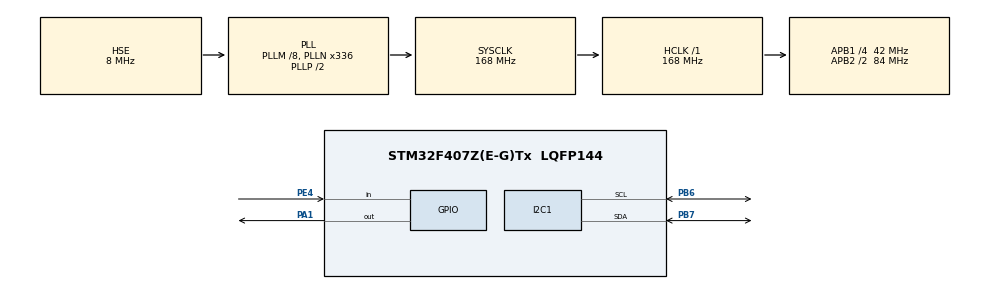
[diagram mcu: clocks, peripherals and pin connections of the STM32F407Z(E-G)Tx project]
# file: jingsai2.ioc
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Mcu.Family=STM32F4
Mcu.Name=STM32F407Z(E-G)Tx
Mcu.Package=LQFP144
NVIC.PriorityGroup=NVIC_PRIORITYGROUP_4
NVIC.TIM1_UP_TIM10_IRQn=true\:15\:0\:false\:false\:true\:false\:true\:true
NVIC.TimeBase=TIM1_UP_TIM10_IRQn
NVIC.TimeBaseIP=TIM1
PA1.GPIO_PuPd=GPIO_PULLUP
PA1.GPIO_Speed=GPIO_SPEED_FREQ_HIGH
PA1.PinState=GPIO_PIN_SET
PA1.Signal=GPIO_Output
PA13.Mode=Serial_Wire
PA13.Signal=SYS_JTMS-SWDIO
PA14.Mode=Serial_Wire
PA14.Signal=SYS_JTCK-SWCLK
PB6.Mode=I2C
PB6.Signal=I2C1_SCL
PB7.Mode=I2C
PB7.Signal=I2C1_SDA
PE4.GPIO_PuPd=GPIO_PULLUP
PE4.Signal=GPIO_Input
PH0-OSC_IN.Mode=HSE-External-Oscillator
PH0-OSC_IN.Signal=RCC_OSC_IN
PH1-OSC_OUT.Mode=HSE-External-Oscillator
PH1-OSC_OUT.Signal=RCC_OSC_OUT
ProjectManager.HeapSize=0x200
ProjectManager.StackSize=0x400
ProjectManager.TargetToolchain=MDK-ARM V5.32
RCC.48MHZClocksFreq_Value=84000000
RCC.AHBFreq_Value=168000000
RCC.APB1CLKDivider=RCC_HCLK_DIV4
RCC.APB1Freq_Value=42000000
RCC.APB1TimFreq_Value=84000000
RCC.APB2CLKDivider=RCC_HCLK_DIV2
RCC.APB2Freq_Value=84000000
RCC.APB2TimFreq_Value=168000000
RCC.CortexFreq_Value=168000000
RCC.HCLKFreq_Value=168000000
RCC.HSE_VALUE=8000000
RCC.HSI_VALUE=16000000
RCC.LSE_VALUE=32768
RCC.PLLM=8
RCC.PLLN=336
RCC.PLLSourceVirtual=RCC_PLLSOURCE_HSE
RCC.SYSCLKFreq_VALUE=168000000
RCC.SYSCLKSource=RCC_SYSCLKSOURCE_PLLCLK
RCC.VCOOutputFreq_Value=336000000
TIM6.Prescaler=167
VP_SYS_VS_tim1.Mode=TIM1
VP_TIM6_VS_ClockSourceINT.Mode=Enable_Timer
board=custom

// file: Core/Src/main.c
/* USER CODE BEGIN Header */
/**
  ******************************************************************************
  * @file           : main.c
  * @brief          : Main program body
  ******************************************************************************
  * @attention
  *
  * Copyright (c) 2026 STMicroelectronics.
  * All rights reserved.
  *
  * This software is licensed under terms that can be found in the LICENSE file
  * in the root directory of this software component.
  * If no LICENSE file comes with this software, it is provided AS-IS.
  *
  ******************************************************************************
  */
/* USER CODE END Header */
#include "main.h"
#include "i2c.h"
#include "tim.h"
#include "gpio.h"

/* USER CODE BEGIN Includes */
#include <stdio.h>
#include <string.h>
#include "dht11.h"
#include "bh1750.h"
#include "oled.h"
/* USER CODE END Includes */

/* USER CODE BEGIN PV */

float temperature = 0;
float humidity = 0;
float lux = 0;
uint8_t dht11_ok = 0;

uint8_t current_mode = 0;     /* 0~3 */
uint8_t mode_changed = 1;

/* USER CODE END PV */

void SystemClock_Config(void);
/* USER CODE BEGIN PFP */
void delay_us(uint32_t us);
void Key_Scan(void);
void Sensor_ReadAndDisplay(void);
static void OLED_UpdateDisplay(void);
/* USER CODE END PFP */

int main(void)
{

  /* MCU Configuration--------------------------------------------------------*/

  /* Reset of all peripherals, Initializes the Flash interface and the Systick. */
  HAL_Init();

  /* Configure the system clock */
  SystemClock_Config();

  /* Initialize all configured peripherals */
  MX_GPIO_Init();
  MX_I2C1_Init();
  MX_TIM6_Init();
  /* USER CODE BEGIN 2 */

  OLED_Init();
  OLED_Clear();
  OLED_ShowString(8,  1, "JingSai Project");
  OLED_ShowString(8,  3, "STM32F407ZGT6");
  OLED_ShowString(20, 5, "Initializing...");
  OLED_Refresh();

  BH1750_Init();

  OLED_Clear();
  OLED_ShowString(20, 5, "Starting...");
  OLED_Refresh();
  HAL_Delay(500);

  /* USER CODE END 2 */

  /* Infinite loop */
  while (1)
  {

    /* USER CODE BEGIN 3 */
    /* 读传感器并显示 */
    Sensor_ReadAndDisplay();

    /* 接下来的 2 秒内，每毫秒扫一次按键 */
    for (uint32_t i = 0; i < 2000; i++)
    {
        Key_Scan();
        if (mode_changed)          /* 按键切换了模式 */
        {
            mode_changed = 0;
            OLED_UpdateDisplay();  /* 立即刷新显示，不等下次读数 */
        }
        HAL_Delay(1);
    }
    /* USER CODE END 3 */
  }
  /* USER CODE END 3 */
}

void SystemClock_Config(void)
{
  RCC_OscInitTypeDef RCC_OscInitStruct = {0};
  RCC_ClkInitTypeDef RCC_ClkInitStruct = {0};

  /** Configure the main internal regulator output voltage
  */
  __HAL_RCC_PWR_CLK_ENABLE();
  __HAL_PWR_VOLTAGESCALING_CONFIG(PWR_REGULATOR_VOLTAGE_SCALE1);

  /** Initializes the RCC Oscillators according to the specified parameters
  * in the RCC_OscInitTypeDef structure.
  */
  RCC_OscInitStruct.OscillatorType = RCC_OSCILLATORTYPE_HSE;
  RCC_OscInitStruct.HSEState = RCC_HSE_ON;
  RCC_OscInitStruct.PLL.PLLState = RCC_PLL_ON;
  RCC_OscInitStruct.PLL.PLLSource = RCC_PLLSOURCE_HSE;
  RCC_OscInitStruct.PLL.PLLM = 8;
  RCC_OscInitStruct.PLL.PLLN = 336;
  RCC_OscInitStruct.PLL.PLLP = RCC_PLLP_DIV2;
  RCC_OscInitStruct.PLL.PLLQ = 4;
  if (HAL_RCC_OscConfig(&RCC_OscInitStruct) != HAL_OK)
  {
    Error_Handler();
  }

  /** Initializes the CPU, AHB and APB buses clocks
  */
  RCC_ClkInitStruct.ClockType = RCC_CLOCKTYPE_HCLK|RCC_CLOCKTYPE_SYSCLK
                              |RCC_CLOCKTYPE_PCLK1|RCC_CLOCKTYPE_PCLK2;
  RCC_ClkInitStruct.SYSCLKSource = RCC_SYSCLKSOURCE_PLLCLK;
  RCC_ClkInitStruct.AHBCLKDivider = RCC_SYSCLK_DIV1;
  RCC_ClkInitStruct.APB1CLKDivider = RCC_HCLK_DIV4;
  RCC_ClkInitStruct.APB2CLKDivider = RCC_HCLK_DIV2;

  if (HAL_RCC_ClockConfig(&RCC_ClkInitStruct, FLASH_LATENCY_5) != HAL_OK)
  {
    Error_Handler();
  }
}

/* USER CODE BEGIN 4 */

/**
 * @brief  微秒延时（基于 TIM6）
 *         注意：最大延时 65535µs（约 65ms），大于此值需用 HAL_Delay
 */
void delay_us(uint32_t us)
{
    if (us > 65530) us = 65530;   // 防止计数器溢出
    __HAL_TIM_SET_COUNTER(&htim6, 0);
    while (__HAL_TIM_GET_COUNTER(&htim6) < us);
}

/**
 * @brief  按键扫描（PE4，轮询，带消抖）
 */
void Key_Scan(void)
{
    static uint32_t last_tick = 0;
    static uint8_t last_state = 0;      /* 上次引脚状态，默认 LOW（空闲低电平） */
    uint32_t now = HAL_GetTick();
    uint8_t cur_state = HAL_GPIO_ReadPin(KEY0_GPIO_Port, KEY0_Pin);

    /* 检测上升沿：从 LOW 变成 HIGH 才算一次按下 */
    if (last_state == 0 && cur_state == 1)
    {
        if (now - last_tick > 100)      /* 100ms 消抖 */
        {
            last_tick = now;
            current_mode = (current_mode + 1) % 4;
            mode_changed = 1;
        }
    }
    last_state = cur_state;
}

/**
 * @brief  把整数和一位小数转成字符串，避免 sprintf %f 卡死
 */
static void FloatToStr(int16_t val, int8_t decimal, char *out)
{
    uint8_t neg = 0;
    if (val < 0) { neg = 1; val = -val; }
    uint16_t int_part = val / 10;
    uint16_t dec_part = val % 10;
    if (neg) *out++ = '-';
    out += sprintf((char*)out, "%u.%u", int_part, dec_part);
    if (decimal >= 0) *out++ = decimal;
    *out = '\0';
}

/**
 * @brief  按当前模式刷新显示（用最近一次的传感器数据）
 */
static void OLED_UpdateDisplay(void)
{
    char buf[16];

    OLED_Clear();

    switch (current_mode)
    {
        case 0:
            if (dht11_ok)
            {
                OLED_ShowString(0, 0, "Temp:");
                FloatToStr((int16_t)(temperature * 10), 'C', buf);
                OLED_ShowString(36, 0, buf);
                OLED_ShowString(0, 3, "Humi:");
                FloatToStr((int16_t)(humidity * 10), '%', buf);
                OLED_ShowString(36, 3, buf);
            }
            else
            {
                OLED_ShowString(0, 0, "DHT11 Error!");
                OLED_ShowString(0, 3, "Check Sensor");
            }
            OLED_ShowString(0, 6, "Lux:");
            if (lux >= 0) {
                sprintf(buf, "%u", (uint16_t)lux);
                OLED_ShowString(36, 6, buf);
            } else {
                OLED_ShowString(36, 6, "---");
            }
            break;

        case 1:
            if (dht11_ok) {
                OLED_ShowString(20, 0, "Temperature");
                FloatToStr((int16_t)(temperature * 10), 'C', buf);
                OLED_ShowString(28, 3, buf);
            } else {
                OLED_ShowString(20, 3, "No Data");
            }
            break;

        case 2:
            if (dht11_ok) {
                OLED_ShowString(28, 0, "Humidity");
                FloatToStr((int16_t)(humidity * 10), '%', buf);
                OLED_ShowString(28, 3, buf);
            } else {
                OLED_ShowString(20, 3, "No Data");
            }
            break;

        case 3:
            OLED_ShowString(36, 0, "Illum");
            if (lux >= 0) {
                sprintf(buf, "%u", (uint16_t)lux);
                OLED_ShowString(20, 3, buf);
                OLED_ShowString(74, 3, "lux");
            } else {
                OLED_ShowString(20, 3, "Error");
            }
            break;
    }

    OLED_Refresh();
}

/**
 * @brief  读取传感器数据并刷新显示
 */
void Sensor_ReadAndDisplay(void)
{
    uint8_t err;

    /* 读传感器 */
    err = DHT11_Read(&temperature, &humidity);
    dht11_ok = (err == DHT11_OK);
    lux = BH1750_ReadLux();

    /* 显示 */
    OLED_UpdateDisplay();
}

/* USER CODE END 4 */

void HAL_TIM_PeriodElapsedCallback(TIM_HandleTypeDef *htim)
{
  if (htim->Instance == TIM1)
  {
    HAL_IncTick();
  }
}

void Error_Handler(void)
{
  __disable_irq();
  while (1)
  {
  }
}
